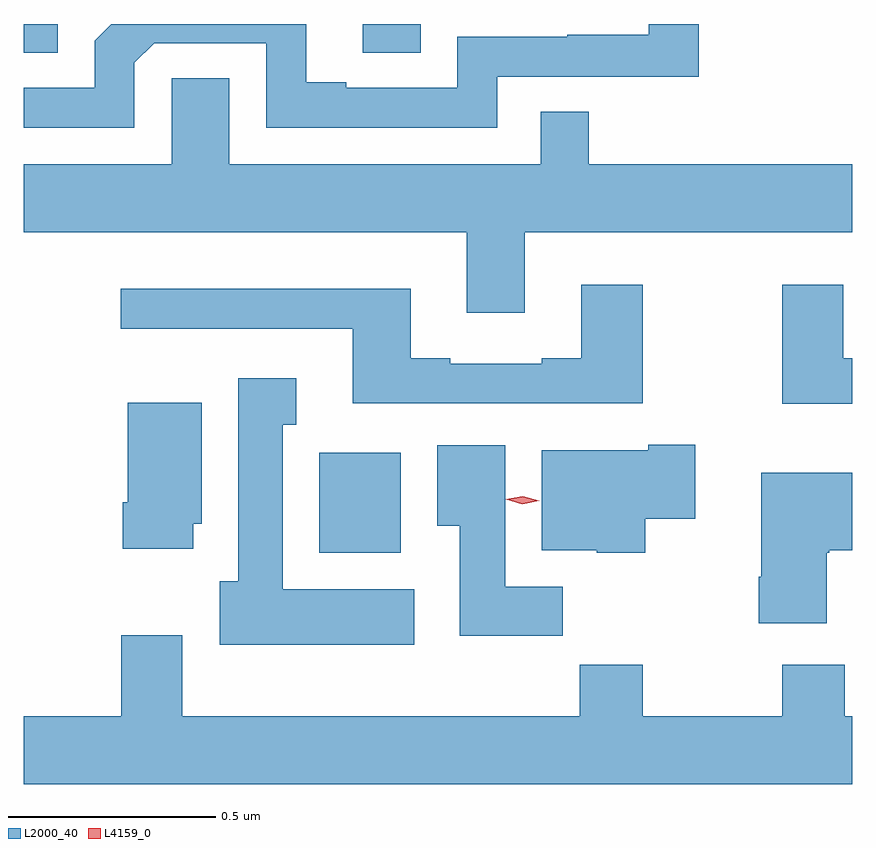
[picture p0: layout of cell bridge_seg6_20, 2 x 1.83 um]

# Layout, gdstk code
import gdstk
lib = gdstk.Library(unit=1e-6, precision=1e-09)
def R(c, l, rs):  # rectangles x0, y0, x1, y1
    for r in rs: c.add(gdstk.rectangle(r[:2], r[2:], *l))
def P(c, l, *ps):  # polygons
    for p in ps: c.add(gdstk.Polygon(p, *l))
L2000_40 = (2000, 40)
L4159_0 = (4159, 0)

bridge_seg6_20 = lib.new_cell('bridge_seg6_20')
R(bridge_seg6_20, L2000_40, [(945.248,929.246,945.445,929.488), (944.535,930.454,944.617,930.523), (945.353,930.454,945.493,930.523)])
P(bridge_seg6_20, L2000_40, [(944.802,930.429),(944.85,930.477),(945.12,930.477),(945.12,930.273),(945.678,930.273),(945.678,930.396),(946.165,930.396),(946.165,930.523),(946.044,930.523),(946.044,930.497),(945.847,930.497),(945.847,930.492),(945.582,930.492),(945.582,930.369),(945.313,930.369),(945.313,930.382),(945.217,930.382),(945.217,930.523),(944.746,930.523),(944.706,930.483),(944.706,930.369),(944.535,930.369),(944.535,930.273),(944.802,930.273)],
  [(945.745,930.02),(946.535,930.02),(946.535,930.184),(945.899,930.184),(945.899,930.311),(945.783,930.311),(945.783,930.184),(945.031,930.184),(945.031,930.392),(944.892,930.392),(944.892,930.184),(944.535,930.184),(944.535,930.02),(945.605,930.02),(945.605,929.826),(945.745,929.826)],
  [(946.029,929.893),(945.881,929.893),(945.881,929.716),(945.785,929.716),(945.785,929.703),(945.565,929.703),(945.565,929.716),(945.469,929.716),(945.469,929.884),(944.769,929.884),(944.769,929.787),(945.329,929.787),(945.329,929.607),(946.029,929.607)],
  [(946.535,929.716),(946.513,929.716),(946.513,929.893),(946.366,929.893),(946.366,929.606),(946.535,929.606)],
  [(945.478,929.158),(945.16,929.158),(945.16,929.555),(945.193,929.555),(945.193,929.668),(945.053,929.668),(945.053,929.178),(945.008,929.178),(945.008,929.024),(945.478,929.024)],
  [(944.944,929.316),(944.965,929.316),(944.965,929.608),(944.786,929.608),(944.786,929.368),(944.774,929.368),(944.774,929.256),(944.944,929.256)],
  [(946.036,929.329),(946.156,929.329),(946.156,929.507),(946.043,929.507),(946.043,929.494),(945.785,929.494),(945.785,929.252),(945.918,929.252),(945.918,929.246),(946.036,929.246)],
  [(945.836,929.164),(945.697,929.164),(945.697,929.506),(945.533,929.506),(945.533,929.312),(945.587,929.312),(945.587,929.046),(945.836,929.046)],
  [(946.474,929.246),(946.48,929.246),(946.48,929.252),(946.535,929.252),(946.535,929.44),(946.316,929.44),(946.316,929.188),(946.309,929.188),(946.309,929.076),(946.474,929.076)],
  [(946.535,928.852),(946.517,928.852),(946.517,928.976),(946.366,928.976),(946.366,928.852),(946.029,928.852),(946.029,928.976),(945.877,928.976),(945.877,928.852),(944.917,928.852),(944.917,929.047),(944.77,929.047),(944.77,928.852),(944.535,928.852),(944.535,928.688),(946.535,928.688)])
P(bridge_seg6_20, L4159_0, [(945.739,929.363),(945.699,929.375),(945.699,929.375),(945.699,929.375),(945.74,929.383),(945.78,929.372),(945.78,929.372),(945.78,929.372)])

lib.write_gds('bridge_seg6_20.gds')
